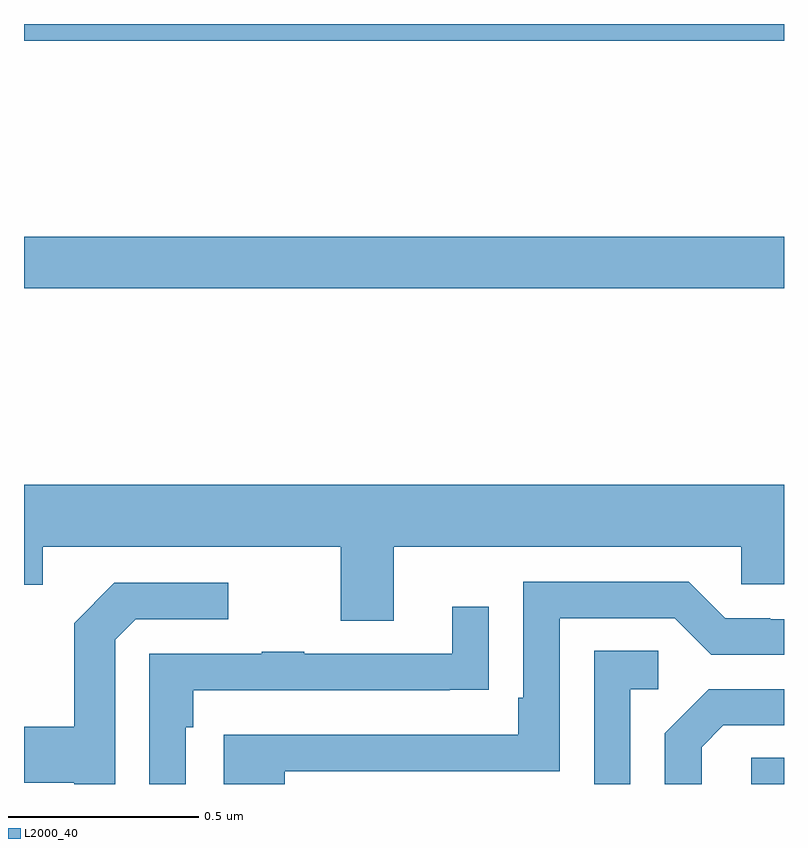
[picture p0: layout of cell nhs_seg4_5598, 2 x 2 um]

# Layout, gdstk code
import gdstk
lib = gdstk.Library(unit=1e-6, precision=1e-09)
def R(c, l, rs):  # rectangles x0, y0, x1, y1
    for r in rs: c.add(gdstk.rectangle(r[:2], r[2:], *l))
def P(c, l, *ps):  # polygons
    for p in ps: c.add(gdstk.Polygon(p, *l))
L2000_40 = (2000, 40)

nhs_seg4_5598 = lib.new_cell('nhs_seg4_5598')
R(nhs_seg4_5598, L2000_40, [(181.914,758.9,182,758.969), (180,760.204,182,760.34), (180,760.856,182,760.9)])
P(nhs_seg4_5598, L2000_40, [(180.973,759.524),(181.887,759.524),(181.887,759.426),(182,759.426),(182,759.688),(180,759.688),(180,759.425),(180.049,759.425),(180.049,759.524),(180.833,759.524),(180.833,759.33),(180.973,759.33)],
  [(180.686,758.934),(181.41,758.934),(181.41,759.336),(181.713,759.336),(181.809,759.24),(182,759.24),(182,759.333),(181.964,759.333),(181.964,759.336),(181.845,759.336),(181.749,759.432),(181.314,759.432),(181.314,759.127),(181.301,759.127),(181.301,759.03),(180.525,759.03),(180.525,758.9),(180.686,758.9)],
  [(180.24,759.279),(180.294,759.333),(180.538,759.333),(180.538,759.429),(180.237,759.429),(180.132,759.323),(180.132,759.051),(180,759.051),(180,758.903),(180.132,758.903),(180.132,758.9),(180.24,758.9)],
  [(180.426,759.05),(180.446,759.05),(180.446,759.147),(181.121,759.147),(181.121,759.148),(181.223,759.148),(181.223,759.367),(181.127,759.367),(181.127,759.243),(180.737,759.243),(180.737,759.248),(180.625,759.248),(180.625,759.243),(180.33,759.243),(180.33,758.9),(180.426,758.9)],
  [(181.596,759.15),(181.669,759.15),(181.669,759.251),(181.5,759.251),(181.5,758.9),(181.596,758.9)],
  [(181.783,758.997),(181.84,759.054),(182,759.054),(182,759.15),(181.802,759.15),(181.686,759.034),(181.686,758.9),(181.783,758.9)])

lib.write_gds('nhs_seg4_5598.gds')
